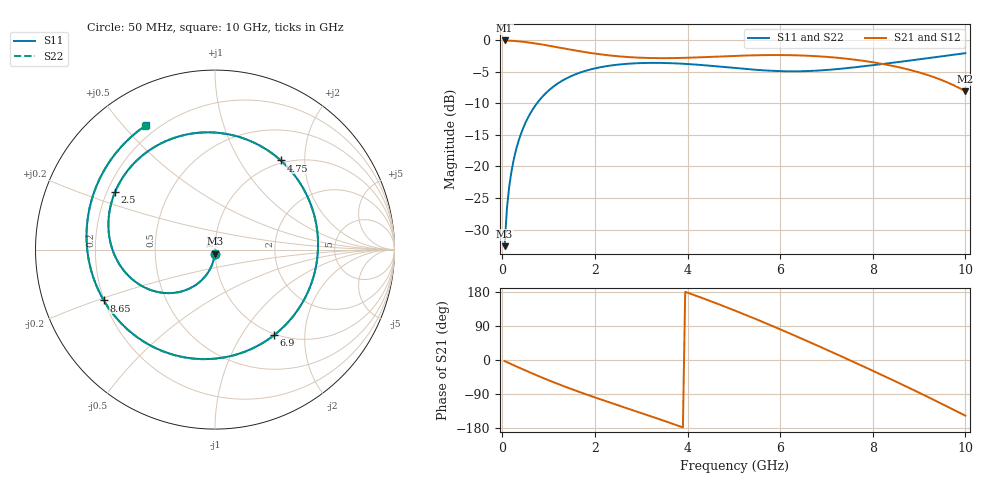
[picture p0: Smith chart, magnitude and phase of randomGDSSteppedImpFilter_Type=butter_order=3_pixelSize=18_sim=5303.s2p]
! freq	dB(S11)	phase(S11)	dB(S12)	phase(S12)
!  dB(S21)	phase(S21)	dB(S22)	phase(S22)
!S-par simulation data
#  GHz  S  DB  R 50
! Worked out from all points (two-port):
!   200 points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, 50 MHz to 10 GHz, reference 50 ohm
!   highest |S21| = 0.00 dB at 50 MHz (marker M1); lowest = -8.1 dB at 10 GHz (marker M2)
!   |S21| within 3 dB of the highest: start of sweep to 7.557 GHz
!   lowest |S11| = -32.6 dB at 50 MHz (marker M3), VSWR 1.05, Z = 49.8 - j2.32 ohm
!   |S11| at or under -10 dB: start of sweep to 745.6 MHz
!   |S22| runs from -32.6 to -2.0 dB; largest |S21 - S12| = 0
!   S11 on the Smith chart (normalised r, x): 50 MHz: 1.00, -0.05; 2.5 GHz: 0.23, +0.26; 4.75 GHz: 0.96, +1.53; 6.9 GHz: 0.98, -1.40; 8.65 GHz: 0.20, -0.21; 10 GHz: 0.16, +0.58
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0.05  -32.64 -92.9  -0.00 -2.8  -0.00 -2.8  -32.64 -92.9
0.1  -26.64 -95.9  -0.02 -5.6  -0.02 -5.6  -26.64 -95.9
0.2  -20.69 -101.7  -0.06 -11.2  -0.06 -11.2  -20.69 -101.7
0.5  -13.08 -118.3  -0.26 -27.6  -0.26 -27.6  -13.08 -118.3
1.1  -7.34 -148.9  -0.96 -58.3  -0.96 -58.3  -7.34 -148.9
1.75  -4.93 -178.7  -1.81 -88.1  -1.81 -88.1  -4.93 -178.7
2.5  -3.84 149.9  -2.51 -119.5  -2.51 -119.5  -3.84 149.9
3.4  -3.57 112.9  -2.81 -156.5  -2.81 -156.5  -3.57 113.1
4.1  -3.79 83.0  -2.72 173.3  -2.72 173.3  -3.79 83.2
4.75  -4.19 53.6  -2.53 143.5  -2.53 143.5  -4.19 53.8
5.05  -4.40 39.4  -2.45 129.1  -2.45 129.1  -4.39 39.6
5.5  -4.67 17.4  -2.35 106.8  -2.35 106.8  -4.67 17.7
5.9  -4.84 -2.8  -2.32 86.2  -2.32 86.2  -4.84 -2.4
6.3  -4.90 -23.6  -2.35 65.2  -2.35 65.2  -4.90 -23.1
6.7  -4.83 -44.8  -2.47 43.7  -2.47 43.7  -4.82 -44.3
6.9  -4.74 -55.6  -2.55 32.8  -2.55 32.8  -4.74 -55.1
7.6  -4.27 -94.3  -3.04 -5.9  -3.04 -5.9  -4.27 -93.8
8.35  -3.62 -137.6  -3.92 -48.4  -3.92 -48.4  -3.61 -137.1
8.65  -3.34 -155.4  -4.40 -65.7  -4.40 -65.7  -3.34 -154.9
9  -3.00 -176.8  -5.07 -86.2  -5.07 -86.2  -3.00 -176.3
9.35  -2.66 161.3  -5.90 -107.1  -5.90 -107.1  -2.66 161.7
10  -2.02 119.2  -8.06 -146.9  -8.06 -146.9  -2.03 119.5
